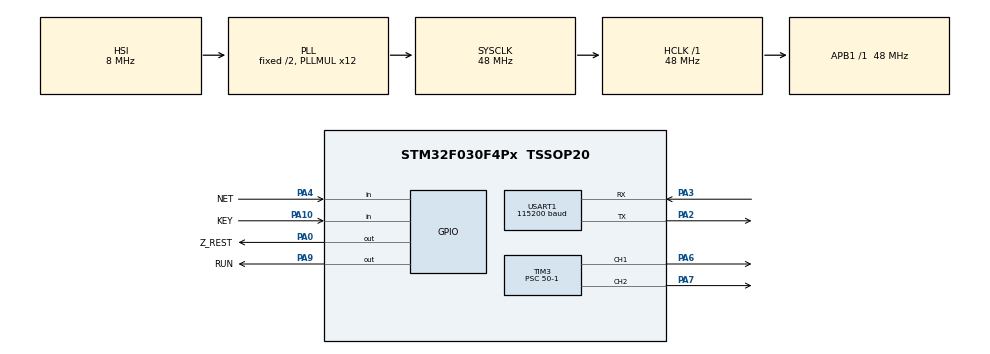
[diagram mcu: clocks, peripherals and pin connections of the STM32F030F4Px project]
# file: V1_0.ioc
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Mcu.Family=STM32F0
Mcu.Name=STM32F030F4Px
Mcu.Package=TSSOP20
NVIC.USART1_IRQn=true\:0\:0\:false\:false\:true\:true
PA0.GPIO_Label=Z_REST
PA0.PinState=GPIO_PIN_SET
PA0.Signal=GPIO_Output
PA10.GPIO_Label=KEY
PA10.Signal=GPIO_Input
PA13.Mode=Serial_Wire
PA13.Signal=SYS_SWDIO
PA14.Mode=Serial_Wire
PA14.Signal=SYS_SWCLK
PA2.Mode=Asynchronous
PA2.Signal=USART1_TX
PA3.Mode=Asynchronous
PA3.Signal=USART1_RX
PA4.GPIO_Label=NET
PA4.Signal=GPIO_Input
PA6.Signal=S_TIM3_CH1
PA7.Signal=S_TIM3_CH2
PA9.GPIO_Label=RUN
PA9.PinState=GPIO_PIN_SET
PA9.Signal=GPIO_Output
ProjectManager.HeapSize=0x200
ProjectManager.StackSize=0x400
ProjectManager.TargetToolchain=MDK-ARM V5
RCC.AHBFreq_Value=48000000
RCC.APB1Freq_Value=48000000
RCC.APB1TimFreq_Value=48000000
RCC.HCLKFreq_Value=48000000
RCC.PLLMUL=RCC_PLL_MUL12
RCC.SYSCLKFreq_VALUE=48000000
RCC.SYSCLKSource=RCC_SYSCLKSOURCE_PLLCLK
RCC.Usart1ClockSelection=RCC_USART1CLKSOURCE_SYSCLK
SH.S_TIM3_CH1.0=TIM3_CH1,PWM Generation1 CH1
SH.S_TIM3_CH2.0=TIM3_CH2,PWM Generation2 CH2
TIM3.Channel-PWM\ Generation1\ CH1=TIM_CHANNEL_1
TIM3.Channel-PWM\ Generation2\ CH2=TIM_CHANNEL_2
TIM3.Period=256
TIM3.Prescaler=50-1
USART1.BaudRate=115200
USART1.VirtualMode-Asynchronous=VM_ASYNC
board=custom

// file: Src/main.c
/* USER CODE BEGIN Header */
/**
 ******************************************************************************
 * @file           : main.c
 * @brief          : Main program body
 ******************************************************************************
 ** This notice applies to any and all portions of this file
 * that are not between comment pairs USER CODE BEGIN and
 * USER CODE END. Other portions of this file, whether
 * inserted by the user or by software development tools
 * are owned by their respective copyright owners.
 *
 * COPYRIGHT(c) 2019 STMicroelectronics
 *
 * Redistribution and use in source and binary forms, with or without
 *modification, are permitted provided that the following conditions are met:
 *   1. Redistributions of source code must retain the above copyright notice,
 *      this list of conditions and the following disclaimer.
 *   2. Redistributions in binary form must reproduce the above copyright
 *notice, this list of conditions and the following disclaimer in the
 *documentation and/or other materials provided with the distribution.
 *   3. Neither the name of STMicroelectronics nor the names of its contributors
 *      may be used to endorse or promote products derived from this software
 *      without specific prior written permission.
 *
 * THIS SOFTWARE IS PROVIDED BY THE COPYRIGHT HOLDERS AND CONTRIBUTORS "AS IS"
 * AND ANY EXPRESS OR IMPLIED WARRANTIES, INCLUDING, BUT NOT LIMITED TO, THE
 * IMPLIED WARRANTIES OF MERCHANTABILITY AND FITNESS FOR A PARTICULAR PURPOSE
 *ARE DISCLAIMED. IN NO EVENT SHALL THE COPYRIGHT HOLDER OR CONTRIBUTORS BE
 *LIABLE FOR ANY DIRECT, INDIRECT, INCIDENTAL, SPECIAL, EXEMPLARY, OR
 *CONSEQUENTIAL DAMAGES (INCLUDING, BUT NOT LIMITED TO, PROCUREMENT OF
 *SUBSTITUTE GOODS OR SERVICES; LOSS OF USE, DATA, OR PROFITS; OR BUSINESS
 *INTERRUPTION) HOWEVER CAUSED AND ON ANY THEORY OF LIABILITY, WHETHER IN
 *CONTRACT, STRICT LIABILITY, OR TORT (INCLUDING NEGLIGENCE OR OTHERWISE)
 *ARISING IN ANY WAY OUT OF THE USE OF THIS SOFTWARE, EVEN IF ADVISED OF THE
 *POSSIBILITY OF SUCH DAMAGE.
 *
 ******************************************************************************
 */
/* USER CODE END Header */

#include "main.h"
#include "tim.h"
#include "usart.h"
#include "gpio.h"

/* USER CODE BEGIN Includes */
#include "config.h"
#include "end.h"
#include "string.h"

/* USER CODE END Includes */

/* USER CODE BEGIN PV */
extern Usart_t Usart1;
extern uint32_t TimeTick;
DevState_e DevState = Dev_Init;

/* USER CODE END PV */

void SystemClock_Config(void);
/* USER CODE BEGIN PFP */
static void Usart_Send(uint8_t *buff, uint8_t size) {
  HAL_UART_Transmit(Usart1.huart, buff, size, 10);
}
static void NextRx(void) {
  memset(Usart1.UsartBuff, 0, sizeof(Usart1.UsartBuff));
  Usart1.len = 0;
  __HAL_UART_ENABLE_IT(Usart1.huart, UART_IT_RXNE);
  __HAL_UART_CLEAR_FLAG(Usart1.huart, UART_CLEAR_IDLEF);
  Usart1.UsartState = RxReady;
}

/* USER CODE END PFP */

/* USER CODE BEGIN 0 */
//static void Flash_Write() {

//    uint32_t temp;
//    uint32_t pagerror;
//    FLASH_EraseInitTypeDef save_dat;
//    temp = 0x32 | (0x22 * 256);
//    save_dat.TypeErase = FLASH_TYPEERASE_PAGES;
//    save_dat.PageAddress = 0x08003c00;
//    save_dat.NbPages = 1;
//    HAL_FLASH_Unlock();
//    HAL_FLASHEx_Erase(&save_dat, &pagerror);
//    HAL_FLASH_Program(FLASH_TYPEPROGRAM_WORD, save_dat.PageAddress, temp);
//    HAL_FLASH_Lock();

//}
/* USER CODE END 0 */

int main(void)
{

  /* MCU Configuration--------------------------------------------------------*/

  /* Reset of all peripherals, Initializes the Flash interface and the Systick. */
  HAL_Init();

  /* Configure the system clock */
  SystemClock_Config();

  /* Initialize all configured peripherals */
  MX_GPIO_Init();
  MX_TIM3_Init();
  MX_USART1_UART_Init();
  /* USER CODE BEGIN 2 */
  End_Init();
  //  send();
  // Send_Data(0xff);
  // Send_Data(0xff);
  // Init_Device();
  // HAL_UART_Receive_IT(&huart1, msg_buf, 20);
  // huart1.Instance->ICR |= 0x10;
  /* USER CODE END 2 */

  /* Infinite loop */
  /* USER CODE BEGIN WHILE */
  while (1) {
    EndDev.Process();
    KeyProcess();
    switch (DevState) {
      case Dev_Init:
        Usart1.huart = &huart1;
        Usart1.Send = Usart_Send;
        Usart1.Rx = NextRx;
        Usart1.Rx();
        DevState = Dev_JoinNet;
        EndDev.Get_Mac();
        break;
      case Dev_JoinNet:
        if (GETNET() && ((TimeTick % 5000) == 0)&&EndDev.IsJoinNet == false) {
          EndDev.Send(JOINNET);
        }
        DevState = Dev_Run;
        break;
      case Dev_Run:
        if (EndDev.IsJoinNet == false) {
          DevState = Dev_JoinNet;
        }
        else if (TimeTick % 30000==0)
        {
            EndDev.Send(READDATA);
        }
        break;
      default:
        DevState = Dev_Init;
        break;
    }
    if (__HAL_UART_GET_FLAG(Usart1.huart, UART_FLAG_IDLE)) {
      Usart1.UsartState = RxDone;
    }
    //     if(end1.online == 0 && (TimeTick%5000 <100))
    // {
    //     Send_Data(JOINNET);
    // }

    //     if (__HAL_UART_GET_FLAG(&huart1, UART_FLAG_IDLE))
    //     {
    //         CLEAR_BIT(huart1.Instance->CR1, (USART_CR1_RXNEIE |
    //         USART_CR1_PEIE)); CLEAR_BIT(huart1.Instance->CR3, USART_CR3_EIE);
    //         Hand_Recbuf(msg_buf);
    //         huart1.RxState = HAL_UART_STATE_READY;
    //         msg_num = 0;
    //         HAL_UART_Receive_IT(&huart1, msg_buf, 20);
    //         huart1.Instance->ICR |= 0x10;
    //     }
    //     Key_Scan();

    /* USER CODE END WHILE */

  }
}

void SystemClock_Config(void)
{
  RCC_OscInitTypeDef RCC_OscInitStruct = {0};
  RCC_ClkInitTypeDef RCC_ClkInitStruct = {0};
  RCC_PeriphCLKInitTypeDef PeriphClkInit = {0};

  /**Initializes the CPU, AHB and APB busses clocks
  */
  RCC_OscInitStruct.OscillatorType = RCC_OSCILLATORTYPE_HSI;
  RCC_OscInitStruct.HSIState = RCC_HSI_ON;
  RCC_OscInitStruct.HSICalibrationValue = RCC_HSICALIBRATION_DEFAULT;
  RCC_OscInitStruct.PLL.PLLState = RCC_PLL_ON;
  RCC_OscInitStruct.PLL.PLLSource = RCC_PLLSOURCE_HSI;
  RCC_OscInitStruct.PLL.PLLMUL = RCC_PLL_MUL12;
  RCC_OscInitStruct.PLL.PREDIV = RCC_PREDIV_DIV1;
  if (HAL_RCC_OscConfig(&RCC_OscInitStruct) != HAL_OK)
  {
    Error_Handler();
  }
  /**Initializes the CPU, AHB and APB busses clocks
  */
  RCC_ClkInitStruct.ClockType = RCC_CLOCKTYPE_HCLK|RCC_CLOCKTYPE_SYSCLK
                              |RCC_CLOCKTYPE_PCLK1;
  RCC_ClkInitStruct.SYSCLKSource = RCC_SYSCLKSOURCE_PLLCLK;
  RCC_ClkInitStruct.AHBCLKDivider = RCC_SYSCLK_DIV1;
  RCC_ClkInitStruct.APB1CLKDivider = RCC_HCLK_DIV1;

  if (HAL_RCC_ClockConfig(&RCC_ClkInitStruct, FLASH_LATENCY_1) != HAL_OK)
  {
    Error_Handler();
  }
  PeriphClkInit.PeriphClockSelection = RCC_PERIPHCLK_USART1;
  PeriphClkInit.Usart1ClockSelection = RCC_USART1CLKSOURCE_SYSCLK;
  if (HAL_RCCEx_PeriphCLKConfig(&PeriphClkInit) != HAL_OK)
  {
    Error_Handler();
  }
}

/* USER CODE BEGIN 4 */
// void HAL_UART_RxCpltCallback(UART_HandleTypeDef *huart)
//{
//    HAL_UART_Receive_IT(&huart1, msg_buf, 20);
//}

/* USER CODE END 4 */

void Error_Handler(void)
{
}

#ifdef  USE_FULL_ASSERT
/**
  * @brief  Reports the name of the source file and the source line number
  *         where the assert_param error has occurred.
  * @param  file: pointer to the source file name
  * @param  line: assert_param error line source number
  * @retval None
  */
void assert_failed(char *file, uint32_t line)
{
  /* USER CODE BEGIN 6 */
  /* User can add his own implementation to report the file name and line
   number, tex: printf("Wrong parameters value: file %s on line %d\r\n", file,
   line) */
  /* USER CODE END 6 */
}
#endif /* USE_FULL_ASSERT */

/************************ (C) COPYRIGHT STMicroelectronics *****END OF FILE****/
